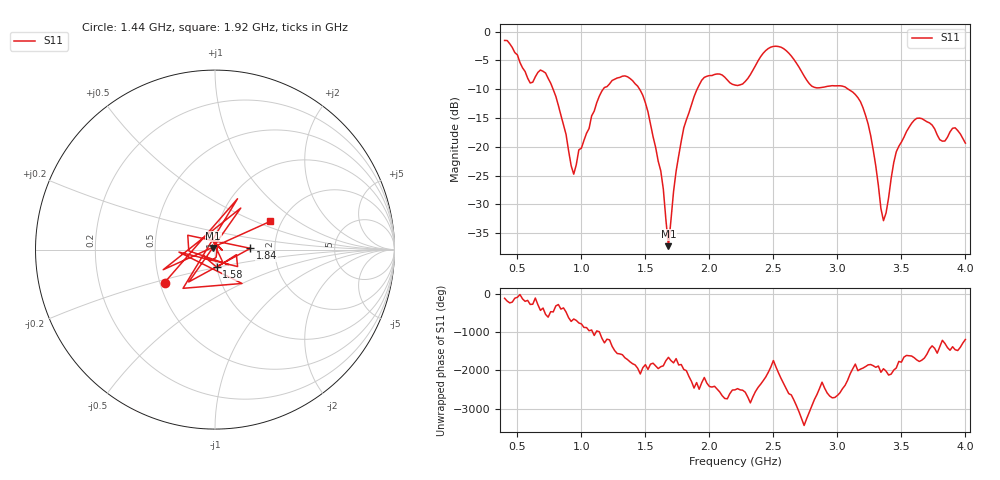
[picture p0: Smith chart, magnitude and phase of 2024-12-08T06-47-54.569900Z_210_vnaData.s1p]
!Created with skrf (http://scikit-rf.org).
# Hz S RI R 50.0
!freq ReS11 ImS11
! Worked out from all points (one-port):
!   181 points, 400 MHz to 4 GHz, reference 50 ohm
!   lowest |S11| = -37.3 dB at 1.68 GHz (marker M1), VSWR 1.03, Z = 49 + j0.871 ohm
!   |S11| at or under -10 dB: 779 MHz to 1.17 GHz (390.9 MHz wide, 40.1 % of centre); 1.455 GHz to 1.904 GHz (449.2 MHz wide, 26.7 % of centre); 3.085 GHz to end of sweep
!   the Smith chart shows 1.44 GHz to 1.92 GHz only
!   S11 on the Smith chart (normalised r, x): 1.44 GHz: 0.53, -0.22; 1.58 GHz: 1.00, -0.20; 1.84 GHz: 1.49, +0.02; 1.92 GHz: 1.74, +0.62
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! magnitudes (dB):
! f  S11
! 400 MHz  -1.5
! 600 MHz  -8.9
! 720 MHz  -7.2
! 860 MHz  -16.1
! 940 MHz  -24.7
! 1.14 GHz  -11.2
! 1.3 GHz  -7.9
! 1.44 GHz  -9.5
! 1.58 GHz  -20.1
! 1.64 GHz  -27.4
! 1.68 GHz  -37.3
! 1.76 GHz  -21.6
! 1.84 GHz  -14.1
! 1.92 GHz  -9.3
! 2.06 GHz  -7.3
! 2.2 GHz  -9.3
! 2.48 GHz  -2.7
! 2.66 GHz  -4.8
! 2.8 GHz  -9.5
! 3.1 GHz  -10.2
! 3.24 GHz  -16.0
! 3.36 GHz  -32.8
! 3.46 GHz  -20.9
! 3.56 GHz  -16.6
! 3.66 GHz  -15.1
! 3.82 GHz  -19.0
! 3.92 GHz  -16.7
! 4 GHz  -19.4
